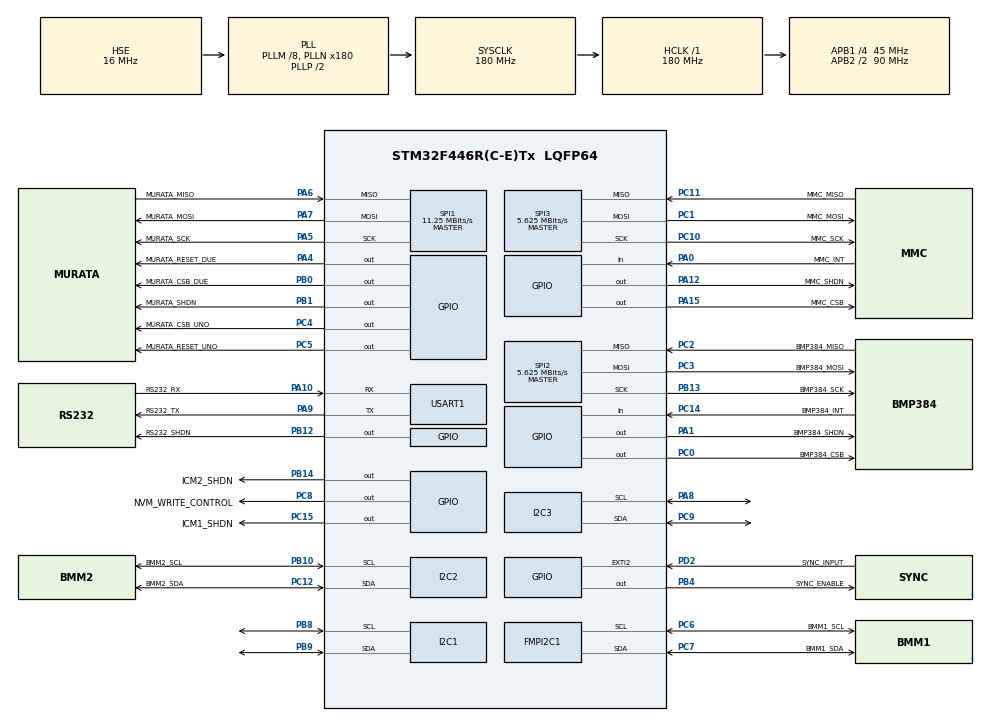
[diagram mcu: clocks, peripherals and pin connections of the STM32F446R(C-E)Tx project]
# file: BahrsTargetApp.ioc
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Dma.I2C1_RX.2.Direction=DMA_PERIPH_TO_MEMORY
Dma.I2C1_RX.2.FIFOMode=DMA_FIFOMODE_DISABLE
Dma.I2C1_RX.2.Instance=DMA1_Stream0
Dma.I2C1_RX.2.MemDataAlignment=DMA_MDATAALIGN_BYTE
Dma.I2C1_RX.2.MemInc=DMA_MINC_ENABLE
Dma.I2C1_RX.2.Mode=DMA_NORMAL
Dma.I2C1_RX.2.PeriphDataAlignment=DMA_PDATAALIGN_BYTE
Dma.I2C1_RX.2.PeriphInc=DMA_PINC_DISABLE
Dma.I2C1_RX.2.Priority=DMA_PRIORITY_LOW
Dma.I2C3_RX.3.Direction=DMA_PERIPH_TO_MEMORY
Dma.I2C3_RX.3.FIFOMode=DMA_FIFOMODE_DISABLE
Dma.I2C3_RX.3.Instance=DMA1_Stream1
Dma.I2C3_RX.3.MemDataAlignment=DMA_MDATAALIGN_BYTE
Dma.I2C3_RX.3.MemInc=DMA_MINC_ENABLE
Dma.I2C3_RX.3.Mode=DMA_NORMAL
Dma.I2C3_RX.3.PeriphDataAlignment=DMA_PDATAALIGN_BYTE
Dma.I2C3_RX.3.PeriphInc=DMA_PINC_DISABLE
Dma.I2C3_RX.3.Priority=DMA_PRIORITY_LOW
Dma.Request0=USART1_TX
Dma.Request1=USART1_RX
Dma.Request2=I2C1_RX
Dma.Request3=I2C3_RX
Dma.USART1_RX.1.Direction=DMA_PERIPH_TO_MEMORY
Dma.USART1_RX.1.FIFOMode=DMA_FIFOMODE_DISABLE
Dma.USART1_RX.1.Instance=DMA2_Stream2
Dma.USART1_RX.1.MemDataAlignment=DMA_MDATAALIGN_BYTE
Dma.USART1_RX.1.MemInc=DMA_MINC_ENABLE
Dma.USART1_RX.1.Mode=DMA_NORMAL
Dma.USART1_RX.1.PeriphDataAlignment=DMA_PDATAALIGN_BYTE
Dma.USART1_RX.1.PeriphInc=DMA_PINC_DISABLE
Dma.USART1_RX.1.Priority=DMA_PRIORITY_LOW
Dma.USART1_TX.0.Direction=DMA_MEMORY_TO_PERIPH
Dma.USART1_TX.0.FIFOMode=DMA_FIFOMODE_DISABLE
Dma.USART1_TX.0.Instance=DMA2_Stream7
Dma.USART1_TX.0.MemDataAlignment=DMA_MDATAALIGN_BYTE
Dma.USART1_TX.0.MemInc=DMA_MINC_ENABLE
Dma.USART1_TX.0.Mode=DMA_NORMAL
Dma.USART1_TX.0.PeriphDataAlignment=DMA_PDATAALIGN_BYTE
Dma.USART1_TX.0.PeriphInc=DMA_PINC_DISABLE
Dma.USART1_TX.0.Priority=DMA_PRIORITY_LOW
FMPI2C1.FMPI2C_Speed_Mode=FMPI2C_Fast
FMPI2C1.Timing=0x00401650
FREERTOS.BinarySemaphores01=SemaphoreTask5ms,Static,SemaphoreTask5msControlBlock;SemaphoreTask10ms,Static,SemaphoreTask10msControlBlock;SemaphoreTdk1,Static,SemaphoreTdk1ControlBlock;SemaphoreTdk2,Static,SemaphoreTdk2ControlBlock;SemDataReceivedTdk1,Static,SemDataReceivedTdk1ControlBlock;SemDataReceivedTdk2,Static,SemDataReceivedTdk2ControlBlock;SemTaskReceiveScha63TData,Static,SemTaskReceiveScha63TDataControlBlock;SemTaskPollBmm1,Static,SemTaskPollBmm1ControlBlock;SemTaskPollBmm2,Static,SemTaskPollBmm2ControlBlock;SemTaskPollBmp,Static,SemTaskPollBmpControlBlock;SemTaskPollMmc,Static,SemTaskPollMmcControlBlock
FREERTOS.HEAP_NUMBER=1
FREERTOS.Queues01=QueueTaskRs232Sender,8,uint8_t,0,Static,QueueTaskRs232SenderBuffer,QueueTaskRs232SenderControlBlock;QueueTaskProcessSync,1,uint64_t,0,Static,QueueTaskProcessSyncBuffer,QueueTaskProcessSyncControlBlock
FREERTOS.Tasks01=Task5ms,33,512,StartTask5ms,Default,NULL,Static,Task5msBuffer,Task5msControlBlock;Task10ms,24,4096,StartTask10ms,Default,NULL,Static,Task10msBuffer,Task10msControlBlock;TaskRs232Sender,32,256,StartTaskRs232Sender,Default,NULL,Static,TaskRs232SenderBuffer,TaskRs232SenderControlBlock;TaskProcessSync,41,128,StartTaskProcessSyncPulse,Default,NULL,Static,TaskProcessSyncBuffer,TaskProcessSyncControlBlock;TaskPollIcm1,40,128,StartTaskPollIcm1,Default,NULL,Static,TaskPollIcmBuffer1,TaskPollIcmControlBlock1;TaskPollIcm2,40,128,StartTaskPollIcm2,Default,NULL,Static,TaskPollIcmBuffer2,TaskPollIcmControlBlock2;TaskReceiveScha63TData,40,512,StartTaskReceiveScha63TData,Default,NULL,Static,TaskReceiveScha63TDataBuffer,TaskReceiveScha63TDataControlBlock;TaskPollBmm1,40,128,StartTaskPollBmm1,Default,NULL,Static,TaskPollBmm1Buffer,TaskPollBmm1ControlBlock;TaskPollBmm2,40,128,StartTaskPollBmm2,Default,NULL,Static,TaskPollBmm2Buffer,TaskPollBmm2ControlBlock;TaskPollBmp,40,128,StartTaskPollBmp,Default,NULL,Static,TaskPollBmpBuffer,TaskPollBmpControlBlock;TaskPollMmc,40,128,StartTaskTaskPollMmc,Default,NULL,Static,TaskPollMmcBuffer,TaskPollMmcControlBlock;TaskInit,55,256,StartTaskInit,Default,NULL,Static,TaskInitBuffer,TaskInitControlBlock
FREERTOS.Timers01=TimerCyclicTaskTrigger,TimerCyclicTaskTriggerCallback,osTimerPeriodic,Default,NULL,Static,TimerCyclicTaskTriggerControlBlock
FREERTOS.configENABLE_FPU=1
FREERTOS.configMAX_TASK_NAME_LEN=32
FREERTOS.configTIMER_TASK_PRIORITY=48
FREERTOS.configUSE_NEWLIB_REENTRANT=1
I2C1.I2C_Mode=I2C_Fast
I2C2.I2C_Mode=I2C_Fast
I2C3.I2C_Mode=I2C_Fast
Mcu.Family=STM32F4
Mcu.Name=STM32F446R(C-E)Tx
Mcu.Package=LQFP64
NVIC.DMA1_Stream0_IRQn=true\:5\:0\:false\:false\:true\:true\:false\:true\:true
NVIC.DMA1_Stream1_IRQn=true\:5\:0\:false\:false\:true\:true\:false\:true\:true
NVIC.DMA2_Stream2_IRQn=true\:5\:0\:false\:false\:true\:true\:false\:true\:true
NVIC.DMA2_Stream7_IRQn=true\:5\:0\:false\:false\:true\:true\:false\:true\:true
NVIC.EXTI2_IRQn=true\:5\:0\:false\:false\:true\:true\:true\:true\:true
NVIC.I2C1_EV_IRQn=true\:5\:0\:false\:false\:true\:true\:true\:true\:true
NVIC.I2C3_EV_IRQn=true\:5\:0\:false\:false\:true\:true\:true\:true\:true
NVIC.PriorityGroup=NVIC_PRIORITYGROUP_4
NVIC.TIM1_UP_TIM10_IRQn=true\:5\:0\:false\:false\:true\:true\:true\:true\:true
NVIC.TIM3_IRQn=true\:5\:0\:false\:false\:true\:true\:true\:true\:true
NVIC.TIM6_DAC_IRQn=true\:15\:0\:false\:false\:true\:false\:false\:true\:true
NVIC.TIM7_IRQn=true\:2\:0\:true\:false\:true\:false\:true\:true\:true
NVIC.TimeBase=TIM6_DAC_IRQn
NVIC.TimeBaseIP=TIM6
NVIC.USART1_IRQn=true\:5\:0\:false\:false\:true\:true\:true\:true\:true
PA0-WKUP.GPIO_Label=MMC_INT
PA0-WKUP.Signal=GPIO_Input
PA1.GPIO_Label=BMP384_SHDN
PA1.PinState=GPIO_PIN_RESET
PA1.Signal=GPIO_Output
PA10.GPIO_Label=RS232_RX
PA10.Mode=Asynchronous
PA10.Signal=USART1_RX
PA12.GPIO_Label=MMC_SHDN
PA12.Signal=GPIO_Output
PA13.Mode=Serial_Wire
PA13.Signal=SYS_JTMS-SWDIO
PA14.Mode=Serial_Wire
PA14.Signal=SYS_JTCK-SWCLK
PA15.GPIO_Label=MMC_CSB
PA15.GPIO_Speed=GPIO_SPEED_FREQ_MEDIUM
PA15.PinState=GPIO_PIN_SET
PA15.Signal=GPIO_Output
PA4.GPIO_Label=MURATA_RESET_DUE
PA4.PinState=GPIO_PIN_SET
PA4.Signal=GPIO_Output
PA5.GPIO_Label=MURATA_SCK
PA5.Mode=Full_Duplex_Master
PA5.Signal=SPI1_SCK
PA6.GPIO_Label=MURATA_MISO
PA6.Mode=Full_Duplex_Master
PA6.Signal=SPI1_MISO
PA7.GPIO_Label=MURATA_MOSI
PA7.Mode=Full_Duplex_Master
PA7.Signal=SPI1_MOSI
PA8.Mode=I2C
PA8.Signal=I2C3_SCL
PA9.GPIO_Label=RS232_TX
PA9.Mode=Asynchronous
PA9.Signal=USART1_TX
PB0.GPIO_Label=MURATA_CSB_DUE
PB0.GPIO_Speed=GPIO_SPEED_FREQ_HIGH
PB0.PinState=GPIO_PIN_SET
PB0.Signal=GPIO_Output
PB1.GPIO_Label=MURATA_SHDN
PB1.PinState=GPIO_PIN_RESET
PB1.Signal=GPIO_Output
PB10.GPIO_Label=BMM2_SCL
PB10.Mode=I2C
PB10.Signal=I2C2_SCL
PB12.GPIO_Label=RS232_SHDN
PB12.PinState=GPIO_PIN_SET
PB12.Signal=GPIO_Output
PB13.GPIO_Label=BMP384_SCK
PB13.Mode=Full_Duplex_Master
PB13.Signal=SPI2_SCK
PB14.GPIO_Label=ICM2_SHDN
PB14.Signal=GPIO_Output
PB3.Signal=SYS_JTDO-SWO
PB4.GPIO_Label=SYNC_ENABLE
PB4.Signal=GPIO_Output
PB8.Mode=I2C
PB8.Signal=I2C1_SCL
PB9.Mode=I2C
PB9.Signal=I2C1_SDA
PC0.GPIO_Label=BMP384_CSB
PC0.GPIO_Speed=GPIO_SPEED_FREQ_MEDIUM
PC0.PinState=GPIO_PIN_SET
PC0.Signal=GPIO_Output
PC1.GPIO_Label=MMC_MOSI
PC1.Mode=Full_Duplex_Master
PC1.Signal=SPI3_MOSI
PC10.GPIO_Label=MMC_SCK
PC10.Mode=Full_Duplex_Master
PC10.Signal=SPI3_SCK
PC11.GPIO_Label=MMC_MISO
PC11.Mode=Full_Duplex_Master
PC11.Signal=SPI3_MISO
PC12.GPIO_Label=BMM2_SDA
PC12.Mode=I2C
PC12.Signal=I2C2_SDA
PC14-OSC32_IN.GPIO_Label=BMP384_INT
PC14-OSC32_IN.Signal=GPIO_Input
PC15-OSC32_OUT.GPIO_Label=ICM1_SHDN
PC15-OSC32_OUT.Signal=GPIO_Output
PC2.GPIO_Label=BMP384_MISO
PC2.Mode=Full_Duplex_Master
PC2.Signal=SPI2_MISO
PC3.GPIO_Label=BMP384_MOSI
PC3.Mode=Full_Duplex_Master
PC3.Signal=SPI2_MOSI
PC4.GPIO_Label=MURATA_CSB_UNO
PC4.GPIO_Speed=GPIO_SPEED_FREQ_HIGH
PC4.PinState=GPIO_PIN_SET
PC4.Signal=GPIO_Output
PC5.GPIO_Label=MURATA_RESET_UNO
PC5.PinState=GPIO_PIN_SET
PC5.Signal=GPIO_Output
PC6.GPIO_Label=BMM1_SCL
PC6.Mode=I2C
PC6.Signal=FMPI2C1_SCL
PC7.GPIO_Label=BMM1_SDA
PC7.Mode=I2C
PC7.Signal=FMPI2C1_SDA
PC8.GPIO_Label=NVM_WRITE_CONTROL
PC8.PinState=GPIO_PIN_SET
PC8.Signal=GPIO_Output
PC9.Mode=I2C
PC9.Signal=I2C3_SDA
PD2.GPIO_Label=SYNC_INPUT
PD2.GPIO_ModeDefaultEXTI=GPIO_MODE_IT_RISING
PD2.Signal=GPXTI2
PH0-OSC_IN.Mode=HSE-External-Oscillator
PH0-OSC_IN.Signal=RCC_OSC_IN
PH1-OSC_OUT.Mode=HSE-External-Oscillator
PH1-OSC_OUT.Signal=RCC_OSC_OUT
ProjectManager.HeapSize=0x200
ProjectManager.StackSize=0x400
ProjectManager.TargetToolchain=STM32CubeIDE
RCC.AHBFreq_Value=180000000
RCC.APB1CLKDivider=RCC_HCLK_DIV4
RCC.APB1Freq_Value=45000000
RCC.APB1TimFreq_Value=90000000
RCC.APB2CLKDivider=RCC_HCLK_DIV2
RCC.APB2Freq_Value=90000000
RCC.APB2TimFreq_Value=180000000
RCC.CortexFreq_Value=180000000
RCC.HCLKFreq_Value=180000000
RCC.HSE_VALUE=16000000
RCC.PLLM=8
RCC.PLLN=180
RCC.PLLSourceVirtual=RCC_PLLSOURCE_HSE
RCC.SYSCLKFreq_VALUE=180000000
RCC.SYSCLKSource=RCC_SYSCLKSOURCE_PLLCLK
RCC.USBFreq_Value=180000000
RCC.VCOOutputFreq_Value=360000000
SPI1.BaudRatePrescaler=SPI_BAUDRATEPRESCALER_8
SPI1.CalculateBaudRate=11.25 MBits/s
SPI1.Direction=SPI_DIRECTION_2LINES
SPI1.Mode=SPI_MODE_MASTER
SPI1.VirtualType=VM_MASTER
SPI2.BaudRatePrescaler=SPI_BAUDRATEPRESCALER_8
SPI2.CalculateBaudRate=5.625 MBits/s
SPI2.Direction=SPI_DIRECTION_2LINES
SPI2.Mode=SPI_MODE_MASTER
SPI2.VirtualType=VM_MASTER
SPI3.BaudRatePrescaler=SPI_BAUDRATEPRESCALER_8
SPI3.CalculateBaudRate=5.625 MBits/s
SPI3.Direction=SPI_DIRECTION_2LINES
SPI3.Mode=SPI_MODE_MASTER
SPI3.VirtualType=VM_MASTER
TIM2.Period=4294967295
TIM2.Prescaler=89
TIM2.TIM_MasterOutputTrigger=TIM_TRGO_UPDATE
TIM3.Channel-Output\ Compare1\ No\ Output=TIM_CHANNEL_1
TIM3.Channel-Output\ Compare2\ No\ Output=TIM_CHANNEL_2
TIM7.Period=1
TIM7.Prescaler=14949
USART1.VirtualMode=VM_ASYNC
VP_CRC_VS_CRC.Mode=CRC_Activate
VP_FREERTOS_VS_CMSIS_V2.Mode=CMSIS_V2
VP_SYS_VS_tim6.Mode=TIM6
VP_TIM10_VS_ClockSourceINT.Mode=Enable_Timer
VP_TIM2_VS_ClockSourceINT.Mode=Internal
VP_TIM3_VS_ClockSourceINT.Mode=Internal
VP_TIM3_VS_no_output1.Mode=Output Compare1 No Output
VP_TIM3_VS_no_output2.Mode=Output Compare2 No Output
VP_TIM5_VS_ClockSourceITR.Mode=TriggerSource_ITR0
VP_TIM5_VS_ControllerModeClock.Mode=Clock Mode
VP_TIM7_VS_ClockSourceINT.Mode=Enable_Timer
board=custom

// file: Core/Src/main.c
/* USER CODE BEGIN Header */
/**
  ******************************************************************************
  * @file           : main.c
  * @brief          : Main program body
  ******************************************************************************
  * @attention
  *
  * Copyright (c) 2021 STMicroelectronics.
  * All rights reserved.
  *
  * This software is licensed under terms that can be found in the LICENSE file
  * in the root directory of this software component.
  * If no LICENSE file comes with this software, it is provided AS-IS.
  *
  ******************************************************************************
  */
/* USER CODE END Header */
#include "main.h"
#include "cmsis_os.h"
#include "crc.h"
#include "dma.h"
#include "fmpi2c.h"
#include "i2c.h"
#include "spi.h"
#include "tim.h"
#include "usart.h"
#include "gpio.h"

void SystemClock_Config(void);
void MX_FREERTOS_Init(void);
/* USER CODE BEGIN PFP */

void SendSwoDebugData(uint32_t c);

/* USER CODE END PFP */

int main(void)
{
  /* USER CODE BEGIN 1 */

  // Ensure that TIM6 driving tick for HAL has priority higher than interrupts calling HAL functions.
  uwTickPrio = 1;

  /* USER CODE END 1 */

  /* MCU Configuration--------------------------------------------------------*/

  /* Reset of all peripherals, Initializes the Flash interface and the Systick. */
  HAL_Init();

  /* Configure the system clock */
  SystemClock_Config();

  /* Initialize all configured peripherals */
  MX_GPIO_Init();
  MX_DMA_Init();
  MX_TIM2_Init();
  MX_TIM5_Init();
  MX_TIM7_Init();
  MX_SPI3_Init();
  MX_CRC_Init();
  MX_SPI2_Init();
  MX_USART1_UART_Init();
  MX_FMPI2C1_Init();
  MX_SPI1_Init();
  MX_I2C2_Init();
  MX_I2C1_Init();
  MX_I2C3_Init();
  MX_TIM3_Init();
  MX_TIM10_Init();
  /* USER CODE BEGIN 2 */
  HAL_TIM_Base_Start(&htim2);
  HAL_TIM_Base_Start(&htim5);

  /* USER CODE END 2 */

  /* Init scheduler */
  osKernelInitialize();  /* Call init function for freertos objects (in freertos.c) */
  MX_FREERTOS_Init();

  /* Start scheduler */
  osKernelStart();

  /* We should never get here as control is now taken by the scheduler */
  /* Infinite loop */
  while (1)
  {

  }
}

void SystemClock_Config(void)
{
  RCC_OscInitTypeDef RCC_OscInitStruct = {0};
  RCC_ClkInitTypeDef RCC_ClkInitStruct = {0};

  /** Configure the main internal regulator output voltage
  */
  __HAL_RCC_PWR_CLK_ENABLE();
  __HAL_PWR_VOLTAGESCALING_CONFIG(PWR_REGULATOR_VOLTAGE_SCALE1);

  /** Initializes the RCC Oscillators according to the specified parameters
  * in the RCC_OscInitTypeDef structure.
  */
  RCC_OscInitStruct.OscillatorType = RCC_OSCILLATORTYPE_HSE;
  RCC_OscInitStruct.HSEState = RCC_HSE_ON;
  RCC_OscInitStruct.PLL.PLLState = RCC_PLL_ON;
  RCC_OscInitStruct.PLL.PLLSource = RCC_PLLSOURCE_HSE;
  RCC_OscInitStruct.PLL.PLLM = 8;
  RCC_OscInitStruct.PLL.PLLN = 180;
  RCC_OscInitStruct.PLL.PLLP = RCC_PLLP_DIV2;
  RCC_OscInitStruct.PLL.PLLQ = 2;
  RCC_OscInitStruct.PLL.PLLR = 2;
  if (HAL_RCC_OscConfig(&RCC_OscInitStruct) != HAL_OK)
  {
    Error_Handler();
  }

  /** Activate the Over-Drive mode
  */
  if (HAL_PWREx_EnableOverDrive() != HAL_OK)
  {
    Error_Handler();
  }

  /** Initializes the CPU, AHB and APB buses clocks
  */
  RCC_ClkInitStruct.ClockType = RCC_CLOCKTYPE_HCLK|RCC_CLOCKTYPE_SYSCLK
                              |RCC_CLOCKTYPE_PCLK1|RCC_CLOCKTYPE_PCLK2;
  RCC_ClkInitStruct.SYSCLKSource = RCC_SYSCLKSOURCE_PLLCLK;
  RCC_ClkInitStruct.AHBCLKDivider = RCC_SYSCLK_DIV1;
  RCC_ClkInitStruct.APB1CLKDivider = RCC_HCLK_DIV4;
  RCC_ClkInitStruct.APB2CLKDivider = RCC_HCLK_DIV2;

  if (HAL_RCC_ClockConfig(&RCC_ClkInitStruct, FLASH_LATENCY_5) != HAL_OK)
  {
    Error_Handler();
  }
}

void HAL_TIM_PeriodElapsedCallback(TIM_HandleTypeDef *htim)
{
  if (htim->Instance == TIM6) {
    HAL_IncTick();
  }
}

void Error_Handler(void)
{
  __disable_irq();
  while (1)
  {
  }
}

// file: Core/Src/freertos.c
/* USER CODE BEGIN Header */
/**
  ******************************************************************************
  * File Name          : freertos.c
  * Description        : Code for freertos applications
  ******************************************************************************
  * @attention
  *
  * Copyright (c) 2021 STMicroelectronics.
  * All rights reserved.
  *
  * This software is licensed under terms that can be found in the LICENSE file
  * in the root directory of this software component.
  * If no LICENSE file comes with this software, it is provided AS-IS.
  *
  ******************************************************************************
  */
/* USER CODE END Header */

#include "FreeRTOS.h"
#include "task.h"
#include "main.h"
#include "cmsis_os.h"

/* USER CODE BEGIN Includes */

#include "RteWrapper.h"
#include "TaskRoutines.h"
#include "Icm20789DriverCApi.h"

/* USER CODE END Includes */

typedef StaticTask_t osStaticThreadDef_t;
typedef StaticQueue_t osStaticMessageQDef_t;
typedef StaticTimer_t osStaticTimerDef_t;
typedef StaticSemaphore_t osStaticSemaphoreDef_t;

/* USER CODE BEGIN Variables */

static const uint32_t skuPeriod1msInTicks = (uint32_t) (0.001F * (float)configTICK_RATE_HZ);
static const uint32_t skuPeriod5msInTicks = (uint32_t) (0.005F * (float)configTICK_RATE_HZ);
static const uint32_t skuPeriod10msInTicks = (uint32_t) (0.01F * (float)configTICK_RATE_HZ);
static const uint32_t skuPeriod100msInTicks = (uint32_t) (0.1F * (float)configTICK_RATE_HZ);
static const uint32_t skuPeriod40msInTicks = (uint32_t) (0.04F * (float)configTICK_RATE_HZ);

/* USER CODE END Variables */
/* Definitions for Task5ms */
osThreadId_t Task5msHandle;
uint32_t Task5msBuffer[ 512 ];
osStaticThreadDef_t Task5msControlBlock;
const osThreadAttr_t Task5ms_attributes = {
  .name = "Task5ms",
  .cb_mem = &Task5msControlBlock,
  .cb_size = sizeof(Task5msControlBlock),
  .stack_mem = &Task5msBuffer[0],
  .stack_size = sizeof(Task5msBuffer),
  .priority = (osPriority_t) osPriorityAboveNormal1,
};
/* Definitions for Task10ms */
osThreadId_t Task10msHandle;
uint32_t Task10msBuffer[ 4096 ];
osStaticThreadDef_t Task10msControlBlock;
const osThreadAttr_t Task10ms_attributes = {
  .name = "Task10ms",
  .cb_mem = &Task10msControlBlock,
  .cb_size = sizeof(Task10msControlBlock),
  .stack_mem = &Task10msBuffer[0],
  .stack_size = sizeof(Task10msBuffer),
  .priority = (osPriority_t) osPriorityNormal,
};
/* Definitions for TaskRs232Sender */
osThreadId_t TaskRs232SenderHandle;
uint32_t TaskRs232SenderBuffer[ 256 ];
osStaticThreadDef_t TaskRs232SenderControlBlock;
const osThreadAttr_t TaskRs232Sender_attributes = {
  .name = "TaskRs232Sender",
  .cb_mem = &TaskRs232SenderControlBlock,
  .cb_size = sizeof(TaskRs232SenderControlBlock),
  .stack_mem = &TaskRs232SenderBuffer[0],
  .stack_size = sizeof(TaskRs232SenderBuffer),
  .priority = (osPriority_t) osPriorityAboveNormal,
};
/* Definitions for TaskProcessSync */
osThreadId_t TaskProcessSyncHandle;
uint32_t TaskProcessSyncBuffer[ 128 ];
osStaticThreadDef_t TaskProcessSyncControlBlock;
const osThreadAttr_t TaskProcessSync_attributes = {
  .name = "TaskProcessSync",
  .cb_mem = &TaskProcessSyncControlBlock,
  .cb_size = sizeof(TaskProcessSyncControlBlock),
  .stack_mem = &TaskProcessSyncBuffer[0],
  .stack_size = sizeof(TaskProcessSyncBuffer),
  .priority = (osPriority_t) osPriorityHigh1,
};
/* Definitions for TaskPollIcm1 */
osThreadId_t TaskPollIcm1Handle;
uint32_t TaskPollIcmBuffer1[ 128 ];
osStaticThreadDef_t TaskPollIcmControlBlock1;
const osThreadAttr_t TaskPollIcm1_attributes = {
  .name = "TaskPollIcm1",
  .cb_mem = &TaskPollIcmControlBlock1,
  .cb_size = sizeof(TaskPollIcmControlBlock1),
  .stack_mem = &TaskPollIcmBuffer1[0],
  .stack_size = sizeof(TaskPollIcmBuffer1),
  .priority = (osPriority_t) osPriorityHigh,
};
/* Definitions for TaskPollIcm2 */
osThreadId_t TaskPollIcm2Handle;
uint32_t TaskPollIcmBuffer2[ 128 ];
osStaticThreadDef_t TaskPollIcmControlBlock2;
const osThreadAttr_t TaskPollIcm2_attributes = {
  .name = "TaskPollIcm2",
  .cb_mem = &TaskPollIcmControlBlock2,
  .cb_size = sizeof(TaskPollIcmControlBlock2),
  .stack_mem = &TaskPollIcmBuffer2[0],
  .stack_size = sizeof(TaskPollIcmBuffer2),
  .priority = (osPriority_t) osPriorityHigh,
};
/* Definitions for TaskReceiveScha63TData */
osThreadId_t TaskReceiveScha63TDataHandle;
uint32_t TaskReceiveScha63TDataBuffer[ 512 ];
osStaticThreadDef_t TaskReceiveScha63TDataControlBlock;
const osThreadAttr_t TaskReceiveScha63TData_attributes = {
  .name = "TaskReceiveScha63TData",
  .cb_mem = &TaskReceiveScha63TDataControlBlock,
  .cb_size = sizeof(TaskReceiveScha63TDataControlBlock),
  .stack_mem = &TaskReceiveScha63TDataBuffer[0],
  .stack_size = sizeof(TaskReceiveScha63TDataBuffer),
  .priority = (osPriority_t) osPriorityHigh,
};
/* Definitions for TaskPollBmm1 */
osThreadId_t TaskPollBmm1Handle;
uint32_t TaskPollBmm1Buffer[ 128 ];
osStaticThreadDef_t TaskPollBmm1ControlBlock;
const osThreadAttr_t TaskPollBmm1_attributes = {
  .name = "TaskPollBmm1",
  .cb_mem = &TaskPollBmm1ControlBlock,
  .cb_size = sizeof(TaskPollBmm1ControlBlock),
  .stack_mem = &TaskPollBmm1Buffer[0],
  .stack_size = sizeof(TaskPollBmm1Buffer),
  .priority = (osPriority_t) osPriorityHigh,
};
/* Definitions for TaskPollBmm2 */
osThreadId_t TaskPollBmm2Handle;
uint32_t TaskPollBmm2Buffer[ 128 ];
osStaticThreadDef_t TaskPollBmm2ControlBlock;
const osThreadAttr_t TaskPollBmm2_attributes = {
  .name = "TaskPollBmm2",
  .cb_mem = &TaskPollBmm2ControlBlock,
  .cb_size = sizeof(TaskPollBmm2ControlBlock),
  .stack_mem = &TaskPollBmm2Buffer[0],
  .stack_size = sizeof(TaskPollBmm2Buffer),
  .priority = (osPriority_t) osPriorityHigh,
};
/* Definitions for TaskPollBmp */
osThreadId_t TaskPollBmpHandle;
uint32_t TaskPollBmpBuffer[ 128 ];
osStaticThreadDef_t TaskPollBmpControlBlock;
const osThreadAttr_t TaskPollBmp_attributes = {
  .name = "TaskPollBmp",
  .cb_mem = &TaskPollBmpControlBlock,
  .cb_size = sizeof(TaskPollBmpControlBlock),
  .stack_mem = &TaskPollBmpBuffer[0],
  .stack_size = sizeof(TaskPollBmpBuffer),
  .priority = (osPriority_t) osPriorityHigh,
};
/* Definitions for TaskPollMmc */
osThreadId_t TaskPollMmcHandle;
uint32_t TaskPollMmcBuffer[ 128 ];
osStaticThreadDef_t TaskPollMmcControlBlock;
const osThreadAttr_t TaskPollMmc_attributes = {
  .name = "TaskPollMmc",
  .cb_mem = &TaskPollMmcControlBlock,
  .cb_size = sizeof(TaskPollMmcControlBlock),
  .stack_mem = &TaskPollMmcBuffer[0],
  .stack_size = sizeof(TaskPollMmcBuffer),
  .priority = (osPriority_t) osPriorityHigh,
};
/* Definitions for TaskInit */
osThreadId_t TaskInitHandle;
uint32_t TaskInitBuffer[ 256 ];
osStaticThreadDef_t TaskInitControlBlock;
const osThreadAttr_t TaskInit_attributes = {
  .name = "TaskInit",
  .cb_mem = &TaskInitControlBlock,
  .cb_size = sizeof(TaskInitControlBlock),
  .stack_mem = &TaskInitBuffer[0],
  .stack_size = sizeof(TaskInitBuffer),
  .priority = (osPriority_t) osPriorityRealtime7,
};
/* Definitions for QueueTaskRs232Sender */
osMessageQueueId_t QueueTaskRs232SenderHandle;
uint8_t QueueTaskRs232SenderBuffer[ 8 * sizeof( uint8_t ) ];
osStaticMessageQDef_t QueueTaskRs232SenderControlBlock;
const osMessageQueueAttr_t QueueTaskRs232Sender_attributes = {
  .name = "QueueTaskRs232Sender",
  .cb_mem = &QueueTaskRs232SenderControlBlock,
  .cb_size = sizeof(QueueTaskRs232SenderControlBlock),
  .mq_mem = &QueueTaskRs232SenderBuffer,
  .mq_size = sizeof(QueueTaskRs232SenderBuffer)
};
/* Definitions for QueueTaskProcessSync */
osMessageQueueId_t QueueTaskProcessSyncHandle;
uint8_t QueueTaskProcessSyncBuffer[ 1 * sizeof( uint64_t ) ];
osStaticMessageQDef_t QueueTaskProcessSyncControlBlock;
const osMessageQueueAttr_t QueueTaskProcessSync_attributes = {
  .name = "QueueTaskProcessSync",
  .cb_mem = &QueueTaskProcessSyncControlBlock,
  .cb_size = sizeof(QueueTaskProcessSyncControlBlock),
  .mq_mem = &QueueTaskProcessSyncBuffer,
  .mq_size = sizeof(QueueTaskProcessSyncBuffer)
};
/* Definitions for TimerCyclicTaskTrigger */
osTimerId_t TimerCyclicTaskTriggerHandle;
osStaticTimerDef_t TimerCyclicTaskTriggerControlBlock;
const osTimerAttr_t TimerCyclicTaskTrigger_attributes = {
  .name = "TimerCyclicTaskTrigger",
  .cb_mem = &TimerCyclicTaskTriggerControlBlock,
  .cb_size = sizeof(TimerCyclicTaskTriggerControlBlock),
};
/* Definitions for SemaphoreTask5ms */
osSemaphoreId_t SemaphoreTask5msHandle;
osStaticSemaphoreDef_t SemaphoreTask5msControlBlock;
const osSemaphoreAttr_t SemaphoreTask5ms_attributes = {
  .name = "SemaphoreTask5ms",
  .cb_mem = &SemaphoreTask5msControlBlock,
  .cb_size = sizeof(SemaphoreTask5msControlBlock),
};
/* Definitions for SemaphoreTask10ms */
osSemaphoreId_t SemaphoreTask10msHandle;
osStaticSemaphoreDef_t SemaphoreTask10msControlBlock;
const osSemaphoreAttr_t SemaphoreTask10ms_attributes = {
  .name = "SemaphoreTask10ms",
  .cb_mem = &SemaphoreTask10msControlBlock,
  .cb_size = sizeof(SemaphoreTask10msControlBlock),
};
/* Definitions for SemaphoreTdk1 */
osSemaphoreId_t SemaphoreTdk1Handle;
osStaticSemaphoreDef_t SemaphoreTdk1ControlBlock;
const osSemaphoreAttr_t SemaphoreTdk1_attributes = {
  .name = "SemaphoreTdk1",
  .cb_mem = &SemaphoreTdk1ControlBlock,
  .cb_size = sizeof(SemaphoreTdk1ControlBlock),
};
/* Definitions for SemaphoreTdk2 */
osSemaphoreId_t SemaphoreTdk2Handle;
osStaticSemaphoreDef_t SemaphoreTdk2ControlBlock;
const osSemaphoreAttr_t SemaphoreTdk2_attributes = {
  .name = "SemaphoreTdk2",
  .cb_mem = &SemaphoreTdk2ControlBlock,
  .cb_size = sizeof(SemaphoreTdk2ControlBlock),
};
/* Definitions for SemDataReceivedTdk1 */
osSemaphoreId_t SemDataReceivedTdk1Handle;
osStaticSemaphoreDef_t SemDataReceivedTdk1ControlBlock;
const osSemaphoreAttr_t SemDataReceivedTdk1_attributes = {
  .name = "SemDataReceivedTdk1",
  .cb_mem = &SemDataReceivedTdk1ControlBlock,
  .cb_size = sizeof(SemDataReceivedTdk1ControlBlock),
};
/* Definitions for SemDataReceivedTdk2 */
osSemaphoreId_t SemDataReceivedTdk2Handle;
osStaticSemaphoreDef_t SemDataReceivedTdk2ControlBlock;
const osSemaphoreAttr_t SemDataReceivedTdk2_attributes = {
  .name = "SemDataReceivedTdk2",
  .cb_mem = &SemDataReceivedTdk2ControlBlock,
  .cb_size = sizeof(SemDataReceivedTdk2ControlBlock),
};
/* Definitions for SemTaskReceiveScha63TData */
osSemaphoreId_t SemTaskReceiveScha63TDataHandle;
osStaticSemaphoreDef_t SemTaskReceiveScha63TDataControlBlock;
const osSemaphoreAttr_t SemTaskReceiveScha63TData_attributes = {
  .name = "SemTaskReceiveScha63TData",
  .cb_mem = &SemTaskReceiveScha63TDataControlBlock,
  .cb_size = sizeof(SemTaskReceiveScha63TDataControlBlock),
};
/* Definitions for SemTaskPollBmm1 */
osSemaphoreId_t SemTaskPollBmm1Handle;
osStaticSemaphoreDef_t SemTaskPollBmm1ControlBlock;
const osSemaphoreAttr_t SemTaskPollBmm1_attributes = {
  .name = "SemTaskPollBmm1",
  .cb_mem = &SemTaskPollBmm1ControlBlock,
  .cb_size = sizeof(SemTaskPollBmm1ControlBlock),
};
/* Definitions for SemTaskPollBmm2 */
osSemaphoreId_t SemTaskPollBmm2Handle;
osStaticSemaphoreDef_t SemTaskPollBmm2ControlBlock;
const osSemaphoreAttr_t SemTaskPollBmm2_attributes = {
  .name = "SemTaskPollBmm2",
  .cb_mem = &SemTaskPollBmm2ControlBlock,
  .cb_size = sizeof(SemTaskPollBmm2ControlBlock),
};
/* Definitions for SemTaskPollBmp */
osSemaphoreId_t SemTaskPollBmpHandle;
osStaticSemaphoreDef_t SemTaskPollBmpControlBlock;
const osSemaphoreAttr_t SemTaskPollBmp_attributes = {
  .name = "SemTaskPollBmp",
  .cb_mem = &SemTaskPollBmpControlBlock,
  .cb_size = sizeof(SemTaskPollBmpControlBlock),
};
/* Definitions for SemTaskPollMmc */
osSemaphoreId_t SemTaskPollMmcHandle;
osStaticSemaphoreDef_t SemTaskPollMmcControlBlock;
const osSemaphoreAttr_t SemTaskPollMmc_attributes = {
  .name = "SemTaskPollMmc",
  .cb_mem = &SemTaskPollMmcControlBlock,
  .cb_size = sizeof(SemTaskPollMmcControlBlock),
};

void StartTask5ms(void *argument);
void StartTask10ms(void *argument);
void StartTaskRs232Sender(void *argument);
void StartTaskProcessSyncPulse(void *argument);
void StartTaskPollIcm1(void *argument);
void StartTaskPollIcm2(void *argument);
void StartTaskReceiveScha63TData(void *argument);
void StartTaskPollBmm1(void *argument);
void StartTaskPollBmm2(void *argument);
void StartTaskPollBmp(void *argument);
void StartTaskTaskPollMmc(void *argument);
void StartTaskInit(void *argument);
void TimerCyclicTaskTriggerCallback(void *argument);

void MX_FREERTOS_Init(void); /* (MISRA C 2004 rule 8.1) */

void MX_FREERTOS_Init(void) {

  /* Create the semaphores(s) */
  /* creation of SemaphoreTask5ms */
  SemaphoreTask5msHandle = osSemaphoreNew(1, 0, &SemaphoreTask5ms_attributes);

  /* creation of SemaphoreTask10ms */
  SemaphoreTask10msHandle = osSemaphoreNew(1, 0, &SemaphoreTask10ms_attributes);

  /* creation of SemaphoreTdk1 */
  SemaphoreTdk1Handle = osSemaphoreNew(1, 0, &SemaphoreTdk1_attributes);

  /* creation of SemaphoreTdk2 */
  SemaphoreTdk2Handle = osSemaphoreNew(1, 0, &SemaphoreTdk2_attributes);

  /* creation of SemDataReceivedTdk1 */
  SemDataReceivedTdk1Handle = osSemaphoreNew(1, 0, &SemDataReceivedTdk1_attributes);

  /* creation of SemDataReceivedTdk2 */
  SemDataReceivedTdk2Handle = osSemaphoreNew(1, 0, &SemDataReceivedTdk2_attributes);

  /* creation of SemTaskReceiveScha63TData */
  SemTaskReceiveScha63TDataHandle = osSemaphoreNew(1, 0, &SemTaskReceiveScha63TData_attributes);

  /* creation of SemTaskPollBmm1 */
  SemTaskPollBmm1Handle = osSemaphoreNew(1, 0, &SemTaskPollBmm1_attributes);

  /* creation of SemTaskPollBmm2 */
  SemTaskPollBmm2Handle = osSemaphoreNew(1, 0, &SemTaskPollBmm2_attributes);

  /* creation of SemTaskPollBmp */
  SemTaskPollBmpHandle = osSemaphoreNew(1, 0, &SemTaskPollBmp_attributes);

  /* creation of SemTaskPollMmc */
  SemTaskPollMmcHandle = osSemaphoreNew(1, 0, &SemTaskPollMmc_attributes);

  /* Create the timer(s) */
  /* creation of TimerCyclicTaskTrigger */
  TimerCyclicTaskTriggerHandle = osTimerNew(TimerCyclicTaskTriggerCallback, osTimerPeriodic, NULL, &TimerCyclicTaskTrigger_attributes);

  /* USER CODE BEGIN RTOS_TIMERS */
  osTimerStart(TimerCyclicTaskTriggerHandle, 1U);
  /* USER CODE END RTOS_TIMERS */

  /* Create the queue(s) */
  /* creation of QueueTaskRs232Sender */
  QueueTaskRs232SenderHandle = osMessageQueueNew (8, sizeof(uint8_t), &QueueTaskRs232Sender_attributes);

  /* creation of QueueTaskProcessSync */
  QueueTaskProcessSyncHandle = osMessageQueueNew (1, sizeof(uint64_t), &QueueTaskProcessSync_attributes);

  /* Create the thread(s) */
  /* creation of Task5ms */
  Task5msHandle = osThreadNew(StartTask5ms, NULL, &Task5ms_attributes);

  /* creation of Task10ms */
  Task10msHandle = osThreadNew(StartTask10ms, NULL, &Task10ms_attributes);

  /* creation of TaskRs232Sender */
  TaskRs232SenderHandle = osThreadNew(StartTaskRs232Sender, NULL, &TaskRs232Sender_attributes);

  /* creation of TaskProcessSync */
  TaskProcessSyncHandle = osThreadNew(StartTaskProcessSyncPulse, NULL, &TaskProcessSync_attributes);

  /* creation of TaskPollIcm1 */
  TaskPollIcm1Handle = osThreadNew(StartTaskPollIcm1, NULL, &TaskPollIcm1_attributes);

  /* creation of TaskPollIcm2 */
  TaskPollIcm2Handle = osThreadNew(StartTaskPollIcm2, NULL, &TaskPollIcm2_attributes);

  /* creation of TaskReceiveScha63TData */
  TaskReceiveScha63TDataHandle = osThreadNew(StartTaskReceiveScha63TData, NULL, &TaskReceiveScha63TData_attributes);

  /* creation of TaskPollBmm1 */
  TaskPollBmm1Handle = osThreadNew(StartTaskPollBmm1, NULL, &TaskPollBmm1_attributes);

  /* creation of TaskPollBmm2 */
  TaskPollBmm2Handle = osThreadNew(StartTaskPollBmm2, NULL, &TaskPollBmm2_attributes);

  /* creation of TaskPollBmp */
  TaskPollBmpHandle = osThreadNew(StartTaskPollBmp, NULL, &TaskPollBmp_attributes);

  /* creation of TaskPollMmc */
  TaskPollMmcHandle = osThreadNew(StartTaskTaskPollMmc, NULL, &TaskPollMmc_attributes);

  /* creation of TaskInit */
  TaskInitHandle = osThreadNew(StartTaskInit, NULL, &TaskInit_attributes);

}

void StartTask5ms(void *argument)
{
  /* USER CODE BEGIN StartTask5ms */
  /* Infinite loop */
  for(;;)
  {
    osSemaphoreAcquire(SemaphoreTask5msHandle, osWaitForever);
    TaskRoutine5ms();
  }
  /* USER CODE END StartTask5ms */
}

void StartTask10ms(void *argument)
{
  /* USER CODE BEGIN StartTask10ms */
  /* Infinite loop */
  for(;;)
  {
    osStatus_t eStatus = osSemaphoreAcquire(SemaphoreTask10msHandle, 12U);

    if ((osOK == eStatus) || (osErrorTimeout == eStatus))
    {
      TaskRoutine10ms();
    }
  }
  /* USER CODE END StartTask10ms */
}

void StartTaskRs232Sender(void *argument)
{
  /* USER CODE BEGIN StartTaskRs232Sender */
  /* Infinite loop */
  for(;;)
  {
    uint8_t uMessageId = 0U;
    osStatus_t eStatus = osMessageQueueGet(QueueTaskRs232SenderHandle, &uMessageId, NULL, osWaitForever);

    if (osOK == eStatus)
    {
      TaskRoutineRs232Sender(uMessageId);
    }
  }
  /* USER CODE END StartTaskRs232Sender */
}

void StartTaskProcessSyncPulse(void *argument)
{
  /* USER CODE BEGIN StartTaskProcessSyncPulse */
  /* Infinite loop */
  for(;;)
  {
    uint64_t uTimestampUs = 0U;
    osStatus_t eStatus = osMessageQueueGet(QueueTaskProcessSyncHandle, &uTimestampUs, NULL, osWaitForever);

    if (osOK == eStatus)
    {
      TaskRoutineProcessSyncPulse(uTimestampUs);
    }
  }
  /* USER CODE END StartTaskProcessSyncPulse */
}

void StartTaskPollIcm1(void *argument)
{
  /* USER CODE BEGIN StartTaskPollIcm1 */
  static const uint32_t skuSensorInstance = 0U;
  static uint32_t uCounter = 0U;
  static const uint32_t skuPressurePollingPeriod = 8U;
  uint8_t uIsWaitingForPressure = 0U;
  uint8_t uWaitingForPressureCounter = 0U;

  /* Infinite loop */
  for(;;)
  {
    osSemaphoreAcquire(SemaphoreTdk1Handle, osWaitForever);

    if (0 == Icm20789ImuDataDmaRequest(skuSensorInstance))
    {
      osStatus_t eStatus = osSemaphoreAcquire(SemDataReceivedTdk1Handle, skuPeriod5msInTicks);

      if (osOK == eStatus)
      {
        Icm20789ParseImuDataDma(skuSensorInstance);
      }
      else
      {
        Icm20789InvalidateImuOutputPort(skuSensorInstance);
      }
    }
    else
    {
      Icm20789InvalidateImuOutputPort(skuSensorInstance);
    }

    // Trigger pressure measurement at 25Hz
    if (0U == (uCounter % skuPressurePollingPeriod))
    {
      if (0 == uIsWaitingForPressure)
      {
        if(0 == Icm20789TriggerPressureMeasurement(skuSensorInstance))
        {
          uIsWaitingForPressure = 1U;
          uWaitingForPressureCounter = 0U;
        }
        else
        {
          Icm20789InvalidatePressureOutputPort(skuSensorInstance);
        }
      }
    }

    if (1 == uIsWaitingForPressure)
    {
      // We wait for a while to let the pressure sensor finish the measurement,
      // and then receive data in DMA mode.
      if ((skuPressurePollingPeriod / 2 + 1) == uWaitingForPressureCounter)
      {
        if (0 == Icm20789PressureDataDmaRequest(skuSensorInstance))
        {
          osStatus_t eStatus = osSemaphoreAcquire(SemDataReceivedTdk1Handle, skuPeriod5msInTicks);

          if (osOK == eStatus)
          {
            Icm20789ParsePressureDataDma(skuSensorInstance);
          }
          else
          {
            Icm20789InvalidatePressureOutputPort(skuSensorInstance);
          }
        }
        else
        {
          Icm20789InvalidatePressureOutputPort(skuSensorInstance);
        }

        uIsWaitingForPressure = 0;
      }

      ++uWaitingForPressureCounter;
    }

    ++uCounter;
  }
  /* USER CODE END StartTaskPollIcm1 */
}

void StartTaskPollIcm2(void *argument)
{
  /* USER CODE BEGIN StartTaskPollIcm2 */
  static const uint32_t skuSensorInstance = 1U;
  static uint32_t uCounter = 0U;
  static const uint32_t skuPressurePollingPeriod = 8U;
  uint8_t uIsWaitingForPressure = 0U;
  uint8_t uWaitingForPressureCounter = 0U;

  /* Infinite loop */
  for(;;)
  {
    osSemaphoreAcquire(SemaphoreTdk2Handle, osWaitForever);

    if (0 == Icm20789ImuDataDmaRequest(skuSensorInstance))
    {
      osStatus_t eStatus = osSemaphoreAcquire(SemDataReceivedTdk2Handle, skuPeriod5msInTicks);

      if (osOK == eStatus)
      {
        Icm20789ParseImuDataDma(skuSensorInstance);
      }
      else
      {
        Icm20789InvalidateImuOutputPort(skuSensorInstance);
      }
    }
    else
    {
      Icm20789InvalidateImuOutputPort(skuSensorInstance);
    }

    // Trigger pressure measurement at 25Hz
    if (0U == (uCounter % skuPressurePollingPeriod))
    {
      if (0 == uIsWaitingForPressure)
      {
        if(0 == Icm20789TriggerPressureMeasurement(skuSensorInstance))
        {
          uIsWaitingForPressure = 1U;
          uWaitingForPressureCounter = 0U;
        }
        else
        {
          Icm20789InvalidatePressureOutputPort(skuSensorInstance);
        }
      }
    }

    if (1 == uIsWaitingForPressure)
    {
      // We wait for a while to let the pressure sensor finish the measurement,
      // and then receive data in DMA mode.
      if ((skuPressurePollingPeriod / 2 + 1) == uWaitingForPressureCounter)
      {
        if (0 == Icm20789PressureDataDmaRequest(skuSensorInstance))
        {
          osStatus_t eStatus = osSemaphoreAcquire(SemDataReceivedTdk2Handle, skuPeriod5msInTicks);

          if (osOK == eStatus)
          {
            Icm20789ParsePressureDataDma(skuSensorInstance);
          }
          else
          {
            Icm20789InvalidatePressureOutputPort(skuSensorInstance);
          }
        }
        else
        {
          Icm20789InvalidatePressureOutputPort(skuSensorInstance);
        }

        uIsWaitingForPressure = 0;
      }

      ++uWaitingForPressureCounter;
    }

    ++uCounter;
  }
  /* USER CODE END StartTaskPollIcm2 */
}

void StartTaskReceiveScha63TData(void *argument)
{
  /* USER CODE BEGIN StartTaskReceiveScha63TData */
  /* Infinite loop */
  for(;;)
  {
    osSemaphoreAcquire(SemTaskReceiveScha63TDataHandle, osWaitForever);
    TaskRoutineReceiveScha63TData();
  }
  /* USER CODE END StartTaskReceiveScha63TData */
}

void StartTaskPollBmm1(void *argument)
{
  /* USER CODE BEGIN StartTaskPollBmm1 */
  /* Infinite loop */
  for(;;)
  {
    osSemaphoreAcquire(SemTaskPollBmm1Handle, osWaitForever);
    TaskRoutinePollBmm(0U);
  }
  /* USER CODE END StartTaskPollBmm1 */
}

void StartTaskPollBmm2(void *argument)
{
  /* USER CODE BEGIN StartTaskPollBmm2 */
  /* Infinite loop */
  for(;;)
  {
    osSemaphoreAcquire(SemTaskPollBmm2Handle, osWaitForever);
    TaskRoutinePollBmm(1U);
  }
  /* USER CODE END StartTaskPollBmm2 */
}

void StartTaskPollBmp(void *argument)
{
  /* USER CODE BEGIN StartTaskPollBmp */
  /* Infinite loop */
  for(;;)
  {
    osSemaphoreAcquire(SemTaskPollBmpHandle, osWaitForever);
    TaskRoutinePollBmp();
  }
  /* USER CODE END StartTaskPollBmp */
}

void StartTaskTaskPollMmc(void *argument)
{
  /* USER CODE BEGIN StartTaskTaskPollMmc */
  /* Infinite loop */
  for(;;)
  {
    osSemaphoreAcquire(SemTaskPollMmcHandle, osWaitForever);
    TaskRoutinePollMmc();
  }
  /* USER CODE END StartTaskTaskPollMmc */
}

void StartTaskInit(void *argument)
{
  /* USER CODE BEGIN StartTaskInit */
  /* Infinite loop */
  for(;;)
  {
    TaskRoutineInit();
    osThreadSuspend(TaskInitHandle);
  }
  /* USER CODE END StartTaskInit */
}

/* TimerCyclicTaskTriggerCallback function */
void TimerCyclicTaskTriggerCallback(void *argument)
{
  /* USER CODE BEGIN TimerCyclicTaskTriggerCallback */

  static uint32_t suCounter = 0U;

  // Trigger 5ms tasks
  if ( 0U == (suCounter % skuPeriod5msInTicks) )
  {
    osSemaphoreRelease(SemaphoreTask5msHandle);
    osSemaphoreRelease(SemaphoreTdk1Handle);
    osSemaphoreRelease(SemaphoreTdk2Handle);
  }

  // Trigger 40ms tasks
  if ( 0U == (suCounter % skuPeriod40msInTicks) )
  {
    osSemaphoreRelease(SemTaskPollBmpHandle);
  }

  // Trigger 100ms tasks. We use phase shift to avoid
  // runtime bottle neck.
  if ( 0U == ((suCounter + 3U) % skuPeriod100msInTicks) )
  {
    osSemaphoreRelease(SemTaskPollBmm1Handle);
    osSemaphoreRelease(SemTaskPollBmm2Handle);
    osSemaphoreRelease(SemTaskPollMmcHandle);
  }

  ++suCounter;

  /* USER CODE END TimerCyclicTaskTriggerCallback */
}
